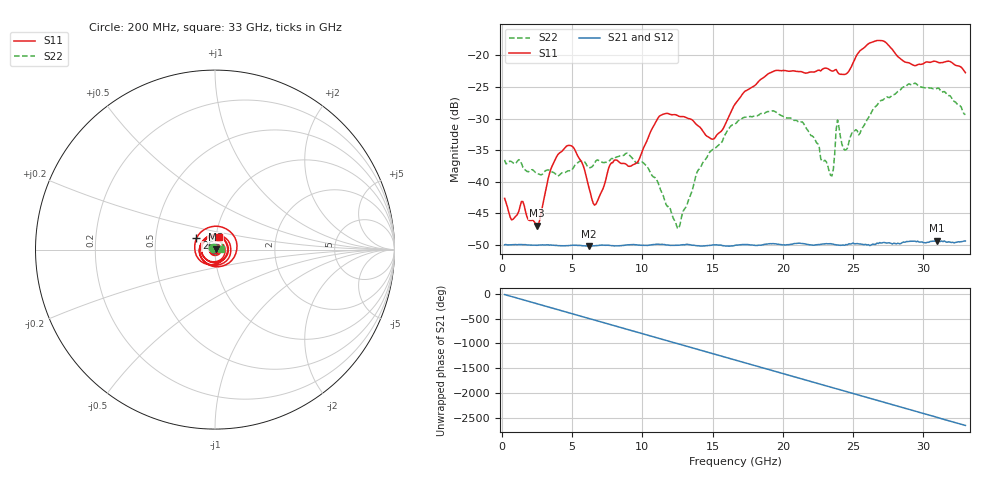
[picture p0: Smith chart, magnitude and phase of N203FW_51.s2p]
# GHZ S RI R 50
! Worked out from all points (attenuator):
!   329 points, 200 MHz to 33 GHz, reference 50 ohm
!   highest |S21| = -49.30 dB at 31 GHz (marker M1); lowest = -50.2 dB at 6.2 GHz (marker M2)
!   lowest |S11| = -46.9 dB at 2.5 GHz (marker M3), VSWR 1.01, Z = 50.4 + j0.227 ohm
!   |S11| at or under -10 dB: start of sweep to end of sweep
!   |S22| runs from -47.4 to -24.4 dB; largest |S21 - S12| = 8.8e-05
!   S11 on the Smith chart (normalised r, x): 200 MHz: 1.01, +0.01; 26 GHz: 0.81, +0.10; 33 GHz: 1.03, +0.15
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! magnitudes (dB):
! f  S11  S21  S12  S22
! 200 MHz  -42.6  -50.0  -49.9  -36.5
! 700 MHz  -46.0  -50.0  -50.0  -36.8
! 2.5 GHz  -46.9  -50.1  -50.0  -38.7
! 4 GHz  -35.7  -50.1  -50.1  -39.1
! 5.7 GHz  -36.9  -50.1  -50.1  -36.7
! 6.2 GHz  -40.9  -50.2  -50.2  -37.8
! 6.6 GHz  -43.7  -50.1  -50.1  -37.1
! 7.8 GHz  -37.0  -50.1  -50.1  -36.3
! 8.9 GHz  -37.3  -50.0  -50.0  -35.5
! 11.2 GHz  -29.7  -49.9  -49.9  -40.6
! 12.6 GHz  -29.6  -50.0  -50.0  -47.4
! 15 GHz  -33.3  -50.0  -50.0  -34.9
! 16.6 GHz  -27.7  -50.1  -50.1  -30.9
! 19.3 GHz  -22.6  -49.8  -49.8  -28.8
! 22.1 GHz  -22.6  -50.0  -50.0  -32.7
! 23.5 GHz  -22.5  -49.8  -49.8  -39.1
! 23.9 GHz  -22.7  -50.0  -50.0  -30.2
! 24.5 GHz  -23.0  -49.9  -49.9  -35.0
! 26 GHz  -18.3  -50.0  -49.9  -30.2
! 27.6 GHz  -18.6  -49.7  -49.7  -26.7
! 31 GHz  -21.0  -49.3  -49.3  -25.2
! 33 GHz  -22.7  -49.4  -49.4  -29.4
